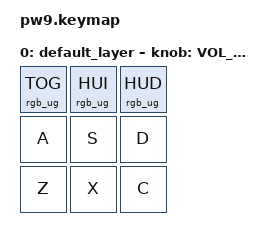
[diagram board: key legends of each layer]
#include <behaviors.dtsi>
#include <dt-bindings/zmk/keys.h>
#include <dt-bindings/zmk/rgb.h>

/ {
	keymap {
		compatible = "zmk,keymap";

		default_layer {
			bindings = <
				&rgb_ug RGB_TOG &rgb_ug RGB_HUI  &rgb_ug RGB_HUD
				&kp A  &kp S  &kp D
				&kp Z  &kp X  &kp C
			>;
			sensor-bindings = <&inc_dec_kp C_VOL_UP C_VOL_DN &inc_dec_kp PG_UP PG_DN>;
		};
	};
};
